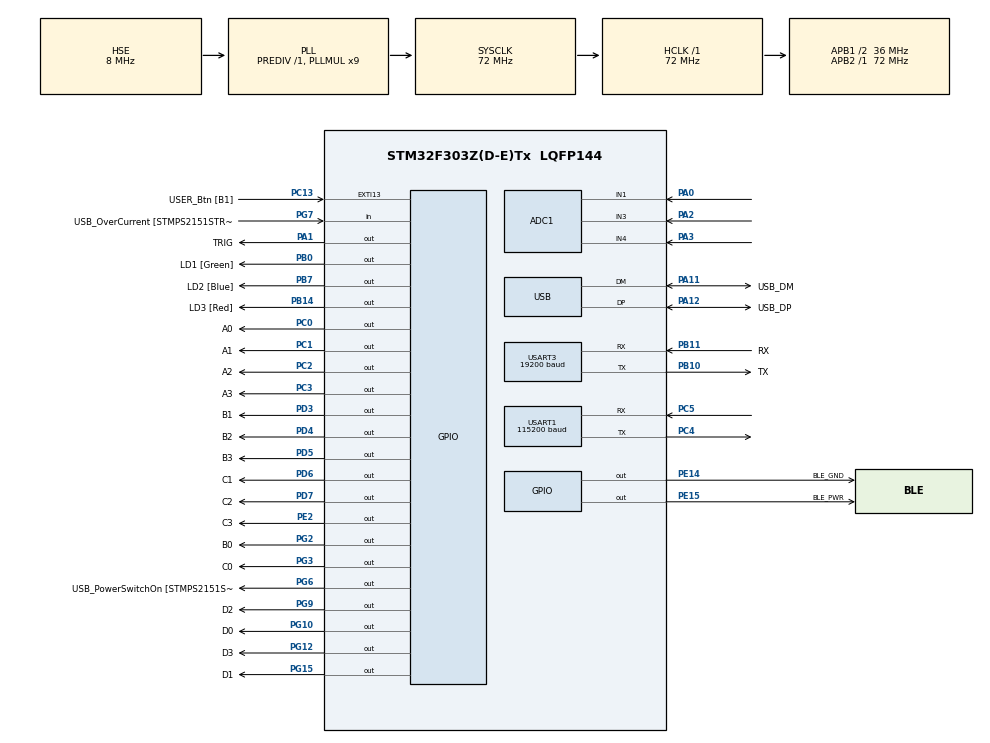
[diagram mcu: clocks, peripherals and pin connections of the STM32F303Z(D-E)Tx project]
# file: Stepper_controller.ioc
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ADC1.Channel-0\#ChannelRegularConversion=ADC_CHANNEL_1
ADC1.Channel-1\#ChannelRegularConversion=ADC_CHANNEL_3
ADC1.Channel-2\#ChannelRegularConversion=ADC_CHANNEL_4
ADC1.DataAlign=ADC_DATAALIGN_LEFT
ADC1.DiscontinuousConvMode=ENABLE
ADC1.InjNumberOfConversion=3
ADC1.InjectedChannel-3\#ChannelInjectedConversion=ADC_CHANNEL_1
ADC1.InjectedChannel-4\#ChannelInjectedConversion=ADC_CHANNEL_3
ADC1.InjectedChannel-5\#ChannelInjectedConversion=ADC_CHANNEL_4
ADC1.InjectedOffset-3\#ChannelInjectedConversion=0
ADC1.InjectedOffset-4\#ChannelInjectedConversion=0
ADC1.InjectedOffset-5\#ChannelInjectedConversion=0
ADC1.InjectedOffsetNumber-3\#ChannelInjectedConversion=ADC_OFFSET_NONE
ADC1.InjectedOffsetNumber-4\#ChannelInjectedConversion=ADC_OFFSET_NONE
ADC1.InjectedOffsetNumber-5\#ChannelInjectedConversion=ADC_OFFSET_NONE
ADC1.InjectedRank-3\#ChannelInjectedConversion=1
ADC1.InjectedRank-4\#ChannelInjectedConversion=2
ADC1.InjectedRank-5\#ChannelInjectedConversion=3
ADC1.InjectedSamplingTime-3\#ChannelInjectedConversion=ADC_SAMPLETIME_1CYCLE_5
ADC1.InjectedSamplingTime-4\#ChannelInjectedConversion=ADC_SAMPLETIME_1CYCLE_5
ADC1.InjectedSamplingTime-5\#ChannelInjectedConversion=ADC_SAMPLETIME_1CYCLE_5
ADC1.NbrOfConversion=3
ADC1.NbrOfConversionFlag=1
ADC1.NbrOfDiscConversion=3
ADC1.Offset-0\#ChannelRegularConversion=0
ADC1.Offset-1\#ChannelRegularConversion=0
ADC1.Offset-2\#ChannelRegularConversion=0
ADC1.OffsetNumber-0\#ChannelRegularConversion=ADC_OFFSET_NONE
ADC1.OffsetNumber-1\#ChannelRegularConversion=ADC_OFFSET_NONE
ADC1.OffsetNumber-2\#ChannelRegularConversion=ADC_OFFSET_NONE
ADC1.Rank-0\#ChannelRegularConversion=1
ADC1.Rank-1\#ChannelRegularConversion=2
ADC1.Rank-2\#ChannelRegularConversion=3
ADC1.SamplingTime-0\#ChannelRegularConversion=ADC_SAMPLETIME_1CYCLE_5
ADC1.SamplingTime-1\#ChannelRegularConversion=ADC_SAMPLETIME_1CYCLE_5
ADC1.SamplingTime-2\#ChannelRegularConversion=ADC_SAMPLETIME_1CYCLE_5
ADC1.master=1
Dma.ADC1.0.Direction=DMA_PERIPH_TO_MEMORY
Dma.ADC1.0.Instance=DMA1_Channel1
Dma.ADC1.0.MemDataAlignment=DMA_MDATAALIGN_HALFWORD
Dma.ADC1.0.MemInc=DMA_MINC_ENABLE
Dma.ADC1.0.Mode=DMA_CIRCULAR
Dma.ADC1.0.PeriphDataAlignment=DMA_PDATAALIGN_HALFWORD
Dma.ADC1.0.PeriphInc=DMA_PINC_DISABLE
Dma.ADC1.0.Priority=DMA_PRIORITY_VERY_HIGH
Dma.Request0=ADC1
Mcu.Family=STM32F3
Mcu.Name=STM32F303Z(D-E)Tx
Mcu.Package=LQFP144
NVIC.DMA1_Channel1_IRQn=true\:0\:0\:false\:false\:true\:true\:true\:true
NVIC.PriorityGroup=NVIC_PRIORITYGROUP_4
NVIC.TIM1_TRG_COM_TIM17_IRQn=true\:3\:0\:true\:false\:true\:true\:false\:true
NVIC.TIM1_UP_TIM16_IRQn=true\:2\:0\:true\:false\:true\:true\:true\:true
NVIC.USART3_IRQn=true\:1\:0\:true\:false\:true\:true\:false\:true
NVIC.USB_LP_CAN_RX0_IRQn=true\:0\:0\:false\:false\:true\:false\:true\:true
PA0.Mode=IN1-Single-Ended
PA0.Signal=ADC1_IN1
PA1.GPIO_Label=TRIG
PA1.Signal=GPIO_Output
PA11.GPIO_Label=USB_DM
PA11.Mode=Device
PA11.Signal=USB_DM
PA12.GPIO_Label=USB_DP
PA12.Mode=Device
PA12.Signal=USB_DP
PA13.GPIO_Label=TMS
PA13.Mode=Serial_Wire
PA13.Signal=SYS_JTMS-SWDIO
PA14.GPIO_Label=TCK
PA14.Mode=Serial_Wire
PA14.Signal=SYS_JTCK-SWCLK
PA2.Mode=IN3-Single-Ended
PA2.Signal=ADC1_IN3
PA3.Mode=IN4-Single-Ended
PA3.Signal=ADC1_IN4
PB0.GPIO_Label=LD1 [Green]
PB0.Signal=GPIO_Output
PB10.GPIO_Label=TX
PB10.Mode=Asynchronous
PB10.Signal=USART3_TX
PB11.GPIO_Label=RX
PB11.Mode=Asynchronous
PB11.Signal=USART3_RX
PB14.GPIO_Label=LD3 [Red]
PB14.Signal=GPIO_Output
PB3.GPIO_Label=SWO
PB3.Signal=SYS_JTDO-TRACESWO
PB7.GPIO_Label=LD2 [Blue]
PB7.Signal=GPIO_Output
PC0.GPIO_Label=A0
PC0.GPIO_ModeDefaultOutputPP=GPIO_MODE_OUTPUT_PP
PC0.GPIO_PuPd=GPIO_NOPULL
PC0.GPIO_Speed=GPIO_SPEED_FREQ_HIGH
PC0.PinState=GPIO_PIN_RESET
PC0.Signal=GPIO_Output
PC1.GPIO_Label=A1
PC1.GPIO_ModeDefaultOutputPP=GPIO_MODE_OUTPUT_PP
PC1.GPIO_PuPd=GPIO_NOPULL
PC1.GPIO_Speed=GPIO_SPEED_FREQ_HIGH
PC1.PinState=GPIO_PIN_RESET
PC1.Signal=GPIO_Output
PC13.GPIO_Label=USER_Btn [B1]
PC13.Signal=GPXTI13
PC14-OSC32_IN.Mode=LSE-External-Oscillator
PC14-OSC32_IN.Signal=RCC_OSC32_IN
PC15-OSC32_OUT.Mode=LSE-External-Oscillator
PC15-OSC32_OUT.Signal=RCC_OSC32_OUT
PC2.GPIO_Label=A2
PC2.GPIO_ModeDefaultOutputPP=GPIO_MODE_OUTPUT_PP
PC2.GPIO_PuPd=GPIO_NOPULL
PC2.GPIO_Speed=GPIO_SPEED_FREQ_HIGH
PC2.PinState=GPIO_PIN_RESET
PC2.Signal=GPIO_Output
PC3.GPIO_Label=A3
PC3.GPIO_ModeDefaultOutputPP=GPIO_MODE_OUTPUT_PP
PC3.GPIO_PuPd=GPIO_NOPULL
PC3.GPIO_Speed=GPIO_SPEED_FREQ_HIGH
PC3.PinState=GPIO_PIN_RESET
PC3.Signal=GPIO_Output
PC4.Mode=Asynchronous
PC4.Signal=USART1_TX
PC5.Mode=Asynchronous
PC5.Signal=USART1_RX
PD3.GPIO_Label=B1
PD3.GPIO_ModeDefaultOutputPP=GPIO_MODE_OUTPUT_PP
PD3.GPIO_PuPd=GPIO_NOPULL
PD3.GPIO_Speed=GPIO_SPEED_FREQ_HIGH
PD3.PinState=GPIO_PIN_RESET
PD3.Signal=GPIO_Output
PD4.GPIO_Label=B2
PD4.GPIO_ModeDefaultOutputPP=GPIO_MODE_OUTPUT_PP
PD4.GPIO_PuPd=GPIO_NOPULL
PD4.GPIO_Speed=GPIO_SPEED_FREQ_HIGH
PD4.PinState=GPIO_PIN_RESET
PD4.Signal=GPIO_Output
PD5.GPIO_Label=B3
PD5.GPIO_ModeDefaultOutputPP=GPIO_MODE_OUTPUT_PP
PD5.GPIO_PuPd=GPIO_NOPULL
PD5.GPIO_Speed=GPIO_SPEED_FREQ_HIGH
PD5.PinState=GPIO_PIN_RESET
PD5.Signal=GPIO_Output
PD6.GPIO_Label=C1
PD6.GPIO_ModeDefaultOutputPP=GPIO_MODE_OUTPUT_PP
PD6.GPIO_PuPd=GPIO_NOPULL
PD6.GPIO_Speed=GPIO_SPEED_FREQ_HIGH
PD6.PinState=GPIO_PIN_RESET
PD6.Signal=GPIO_Output
PD7.GPIO_Label=C2
PD7.GPIO_ModeDefaultOutputPP=GPIO_MODE_OUTPUT_PP
PD7.GPIO_PuPd=GPIO_NOPULL
PD7.GPIO_Speed=GPIO_SPEED_FREQ_HIGH
PD7.PinState=GPIO_PIN_RESET
PD7.Signal=GPIO_Output
PE14.GPIO_Label=BLE_GND
PE14.Signal=GPIO_Output
PE15.GPIO_Label=BLE_PWR
PE15.PinState=GPIO_PIN_SET
PE15.Signal=GPIO_Output
PE2.GPIO_Label=C3
PE2.GPIO_ModeDefaultOutputPP=GPIO_MODE_OUTPUT_PP
PE2.GPIO_PuPd=GPIO_NOPULL
PE2.GPIO_Speed=GPIO_SPEED_FREQ_HIGH
PE2.PinState=GPIO_PIN_RESET
PE2.Signal=GPIO_Output
PF0-OSC_IN.GPIO_Label=MCO [STM32F103CBT6_PA8]
PF0-OSC_IN.Mode=HSE-External-Clock-Source
PF0-OSC_IN.Signal=RCC_OSC_IN
PG10.GPIO_Label=D0
PG10.GPIO_ModeDefaultOutputPP=GPIO_MODE_OUTPUT_PP
PG10.GPIO_PuPd=GPIO_NOPULL
PG10.GPIO_Speed=GPIO_SPEED_FREQ_HIGH
PG10.PinState=GPIO_PIN_RESET
PG10.Signal=GPIO_Output
PG12.GPIO_Label=D3
PG12.GPIO_ModeDefaultOutputPP=GPIO_MODE_OUTPUT_PP
PG12.GPIO_PuPd=GPIO_NOPULL
PG12.GPIO_Speed=GPIO_SPEED_FREQ_HIGH
PG12.PinState=GPIO_PIN_RESET
PG12.Signal=GPIO_Output
PG15.GPIO_Label=D1
PG15.GPIO_ModeDefaultOutputPP=GPIO_MODE_OUTPUT_PP
PG15.GPIO_PuPd=GPIO_NOPULL
PG15.GPIO_Speed=GPIO_SPEED_FREQ_HIGH
PG15.PinState=GPIO_PIN_RESET
PG15.Signal=GPIO_Output
PG2.GPIO_Label=B0
PG2.GPIO_ModeDefaultOutputPP=GPIO_MODE_OUTPUT_PP
PG2.GPIO_PuPd=GPIO_NOPULL
PG2.GPIO_Speed=GPIO_SPEED_FREQ_HIGH
PG2.PinState=GPIO_PIN_RESET
PG2.Signal=GPIO_Output
PG3.GPIO_Label=C0
PG3.GPIO_ModeDefaultOutputPP=GPIO_MODE_OUTPUT_PP
PG3.GPIO_PuPd=GPIO_NOPULL
PG3.GPIO_Speed=GPIO_SPEED_FREQ_HIGH
PG3.PinState=GPIO_PIN_RESET
PG3.Signal=GPIO_Output
PG6.GPIO_Label=USB_PowerSwitchOn [STMPS2151STR_EN]
PG6.Signal=GPIO_Output
PG7.GPIO_Label=USB_OverCurrent [STMPS2151STR_FAULT]
PG7.Signal=GPIO_Input
PG9.GPIO_Label=D2
PG9.GPIO_ModeDefaultOutputPP=GPIO_MODE_OUTPUT_PP
PG9.GPIO_PuPd=GPIO_NOPULL
PG9.GPIO_Speed=GPIO_SPEED_FREQ_HIGH
PG9.PinState=GPIO_PIN_RESET
PG9.Signal=GPIO_Output
ProjectManager.HeapSize=0x2000
ProjectManager.StackSize=0x2000
ProjectManager.TargetToolchain=MDK-ARM V5.27
RCC.AHBFreq_Value=72000000
RCC.APB1CLKDivider=RCC_HCLK_DIV2
RCC.APB1Freq_Value=36000000
RCC.APB1TimFreq_Value=72000000
RCC.APB2Freq_Value=72000000
RCC.APB2TimFreq_Value=72000000
RCC.CortexFreq_Value=72000000
RCC.HCLKFreq_Value=72000000
RCC.HSE_VALUE=8000000
RCC.HSI_VALUE=8000000
RCC.PLLMUL=RCC_PLL_MUL9
RCC.PRESCALERUSB=RCC_USBCLKSOURCE_PLL_DIV1_5
RCC.SYSCLKFreq_VALUE=72000000
RCC.SYSCLKSourceVirtual=RCC_SYSCLKSOURCE_PLLCLK
RCC.USBFreq_Value=48000000
TIM16.AutoReloadPreload=TIM_AUTORELOAD_PRELOAD_ENABLE
TIM16.Period=999
TIM16.Prescaler=71
TIM17.AutoReloadPreload=TIM_AUTORELOAD_PRELOAD_ENABLE
TIM17.Period=10
TIM17.Prescaler=7199
USART1.BaudRate=115200
USART1.VirtualMode-Asynchronous=VM_ASYNC
USART3.BaudRate=19200
USART3.DMADisableonRxErrorParam=ADVFEATURE_DMA_DISABLEONRXERROR
USART3.OverrunDisableParam=ADVFEATURE_OVERRUN_DISABLE
USART3.SwapParam=ADVFEATURE_SWAP_ENABLE
USART3.VirtualMode-Asynchronous=VM_ASYNC
USB_DEVICE.CLASS_NAME_FS=CDC
USB_DEVICE.VirtualMode=Cdc
USB_DEVICE.VirtualModeFS=Cdc_FS
VP_RTC_VS_RTC_Activate.Mode=RTC_Enabled
VP_TIM16_VS_ClockSourceINT.Mode=Enable_Timer
VP_TIM17_VS_ClockSourceINT.Mode=Enable_Timer
VP_USB_DEVICE_VS_USB_DEVICE_CDC_FS.Mode=CDC_FS
board=NUCLEO-F303ZE

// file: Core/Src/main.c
/* USER CODE BEGIN Header */
/**
 ******************************************************************************
 * @file           : main.c
 * @brief          : Main program body
 ******************************************************************************
 * @attention
 *
 * <h2><center>&copy; Copyright (c) 2020 STMicroelectronics.
 * All rights reserved.</center></h2>
 *
 * This software component is licensed by ST under BSD 3-Clause license,
 * the "License"; You may not use this file except in compliance with the
 * License. You may obtain a copy of the License at:
 *                        opensource.org/licenses/BSD-3-Clause
 *
 ******************************************************************************
 */
/* USER CODE END Header */

#include "main.h"
#include "usb_device.h"

/* USER CODE BEGIN Includes */
#include "CE32_stepper_motor_driver.h"
#include "FTL_Sampling.h"
#include "CE32_COMMAND.h"
#include "CE32_UART_INTERCOM.h"
#include "string.h"
#include "usbd_cdc_if.h"
/* USER CODE END Includes */

ADC_HandleTypeDef hadc1;
DMA_HandleTypeDef hdma_adc1;

RTC_HandleTypeDef hrtc;

TIM_HandleTypeDef htim16;
TIM_HandleTypeDef htim17;

UART_HandleTypeDef huart1;
UART_HandleTypeDef huart3;

/* USER CODE BEGIN PV */
CE32_stepMotor motor[4];
FTL_sampling sampler;
CE32_INTERCOM_Handle hCOMM;
int16_t motor_location[6];
int measure_state=0;
/* USER CODE END PV */

void SystemClock_Config(void);
static void MX_GPIO_Init(void);
static void MX_DMA_Init(void);
static void MX_RTC_Init(void);
static void MX_USART3_UART_Init(void);
static void MX_ADC1_Init(void);
static void MX_USART1_UART_Init(void);
static void MX_TIM16_Init(void);
static void MX_TIM17_Init(void);
/* USER CODE BEGIN PFP */

void Motor_init(void);
int Vector_Control(int16_t *locs,int len);
int Measure_SendRst(void);
int MatrixScan(int16_t step,int16_t Xbase,int16_t Ybase,int16_t Zbase, int16_t Xspan,int16_t Yspan,int16_t Zspan);
int DepthScan(int16_t step,int16_t Xbase,int16_t Ybase,int16_t Zbase, int16_t Xspan,int16_t Yspan,int16_t Zspan);
void cmd_svr(void);
/* USER CODE END PFP */

int main(void)
{

  /* MCU Configuration--------------------------------------------------------*/

  /* Reset of all peripherals, Initializes the Flash interface and the Systick. */
  HAL_Init();

  /* Configure the system clock */
  SystemClock_Config();

  /* Initialize all configured peripherals */
  MX_GPIO_Init();
  MX_DMA_Init();
  MX_RTC_Init();
  MX_USART3_UART_Init();
  MX_ADC1_Init();
  MX_USART1_UART_Init();
  MX_TIM16_Init();
  MX_TIM17_Init();
  MX_USB_DEVICE_Init();
  /* USER CODE BEGIN 2 */
	HAL_GPIO_WritePin(USB_PowerSwitchOn_GPIO_Port,USB_PowerSwitchOn_Pin,1);
	Motor_init();
	HAL_ADCEx_Calibration_Start(&hadc1,ADC_SINGLE_ENDED);
	CE32_INTERCOM_Init(&hCOMM, &huart3);
	INTERCOM_UART_ENABLE(&hCOMM);
	INTERCOM_UART_RXIT_ENABLE(&hCOMM);

  /* USER CODE END 2 */

  /* Infinite loop */
	while (1)
	{

    /* USER CODE BEGIN 3 */
		//Command Processing services
		cmd_svr();
	}
	//	Stepping_down_Distance(&motor[0], 50);
	//	Stepping_down_Distance(&motor[1], 50);
	//	Stepping_down_Distance(&motor[2], 50);
	//
	//	FTL_Sampling_Init(&sampler,1);
	//	HAL_TIM_Base_Start_IT(&htim16);
	//	HAL_GPIO_WritePin(TRIG_GPIO_Port, TRIG_Pin, GPIO_PIN_SET);
	//	while((sampler.state&FTL_SAMPLE_STATE_FINISH)==0);
	//	Stepping_up_Distance(&motor[0], 50);
	//	Stepping_up_Distance(&motor[1], 50);
	//	Stepping_up_Distance(&motor[2], 50);
  /* USER CODE END 3 */
}

void SystemClock_Config(void)
{
  RCC_OscInitTypeDef RCC_OscInitStruct = {0};
  RCC_ClkInitTypeDef RCC_ClkInitStruct = {0};
  RCC_PeriphCLKInitTypeDef PeriphClkInit = {0};

  /** Initializes the CPU, AHB and APB busses clocks
  */
  RCC_OscInitStruct.OscillatorType = RCC_OSCILLATORTYPE_LSI|RCC_OSCILLATORTYPE_HSE;
  RCC_OscInitStruct.HSEState = RCC_HSE_BYPASS;
  RCC_OscInitStruct.HSIState = RCC_HSI_ON;
  RCC_OscInitStruct.LSIState = RCC_LSI_ON;
  RCC_OscInitStruct.PLL.PLLState = RCC_PLL_ON;
  RCC_OscInitStruct.PLL.PLLSource = RCC_PLLSOURCE_HSE;
  RCC_OscInitStruct.PLL.PLLMUL = RCC_PLL_MUL9;
  RCC_OscInitStruct.PLL.PREDIV = RCC_PREDIV_DIV1;
  if (HAL_RCC_OscConfig(&RCC_OscInitStruct) != HAL_OK)
  {
    Error_Handler();
  }
  /** Initializes the CPU, AHB and APB busses clocks
  */
  RCC_ClkInitStruct.ClockType = RCC_CLOCKTYPE_HCLK|RCC_CLOCKTYPE_SYSCLK
                              |RCC_CLOCKTYPE_PCLK1|RCC_CLOCKTYPE_PCLK2;
  RCC_ClkInitStruct.SYSCLKSource = RCC_SYSCLKSOURCE_PLLCLK;
  RCC_ClkInitStruct.AHBCLKDivider = RCC_SYSCLK_DIV1;
  RCC_ClkInitStruct.APB1CLKDivider = RCC_HCLK_DIV2;
  RCC_ClkInitStruct.APB2CLKDivider = RCC_HCLK_DIV1;

  if (HAL_RCC_ClockConfig(&RCC_ClkInitStruct, FLASH_LATENCY_2) != HAL_OK)
  {
    Error_Handler();
  }
  PeriphClkInit.PeriphClockSelection = RCC_PERIPHCLK_USB|RCC_PERIPHCLK_USART1
                              |RCC_PERIPHCLK_USART3|RCC_PERIPHCLK_RTC
                              |RCC_PERIPHCLK_TIM16|RCC_PERIPHCLK_TIM17
                              |RCC_PERIPHCLK_ADC12;
  PeriphClkInit.Usart1ClockSelection = RCC_USART1CLKSOURCE_PCLK2;
  PeriphClkInit.Usart3ClockSelection = RCC_USART3CLKSOURCE_PCLK1;
  PeriphClkInit.Adc12ClockSelection = RCC_ADC12PLLCLK_DIV1;
  PeriphClkInit.RTCClockSelection = RCC_RTCCLKSOURCE_LSI;
  PeriphClkInit.USBClockSelection = RCC_USBCLKSOURCE_PLL_DIV1_5;
  PeriphClkInit.Tim16ClockSelection = RCC_TIM16CLK_HCLK;
  PeriphClkInit.Tim17ClockSelection = RCC_TIM17CLK_HCLK;
  if (HAL_RCCEx_PeriphCLKConfig(&PeriphClkInit) != HAL_OK)
  {
    Error_Handler();
  }
}

static void MX_ADC1_Init(void)
{

  ADC_MultiModeTypeDef multimode = {0};
  ADC_ChannelConfTypeDef sConfig = {0};
  ADC_InjectionConfTypeDef sConfigInjected = {0};

  /** Common config
  */
  hadc1.Instance = ADC1;
  hadc1.Init.ClockPrescaler = ADC_CLOCK_ASYNC_DIV1;
  hadc1.Init.Resolution = ADC_RESOLUTION_12B;
  hadc1.Init.ScanConvMode = ADC_SCAN_ENABLE;
  hadc1.Init.ContinuousConvMode = DISABLE;
  hadc1.Init.DiscontinuousConvMode = ENABLE;
  hadc1.Init.NbrOfDiscConversion = 3;
  hadc1.Init.ExternalTrigConvEdge = ADC_EXTERNALTRIGCONVEDGE_NONE;
  hadc1.Init.ExternalTrigConv = ADC_SOFTWARE_START;
  hadc1.Init.DataAlign = ADC_DATAALIGN_LEFT;
  hadc1.Init.NbrOfConversion = 3;
  hadc1.Init.DMAContinuousRequests = DISABLE;
  hadc1.Init.EOCSelection = ADC_EOC_SINGLE_CONV;
  hadc1.Init.LowPowerAutoWait = DISABLE;
  hadc1.Init.Overrun = ADC_OVR_DATA_OVERWRITTEN;
  if (HAL_ADC_Init(&hadc1) != HAL_OK)
  {
    Error_Handler();
  }
  /** Configure the ADC multi-mode
  */
  multimode.Mode = ADC_MODE_INDEPENDENT;
  if (HAL_ADCEx_MultiModeConfigChannel(&hadc1, &multimode) != HAL_OK)
  {
    Error_Handler();
  }
  /** Configure Regular Channel
  */
  sConfig.Channel = ADC_CHANNEL_1;
  sConfig.Rank = ADC_REGULAR_RANK_1;
  sConfig.SingleDiff = ADC_SINGLE_ENDED;
  sConfig.SamplingTime = ADC_SAMPLETIME_1CYCLE_5;
  sConfig.OffsetNumber = ADC_OFFSET_NONE;
  sConfig.Offset = 0;
  if (HAL_ADC_ConfigChannel(&hadc1, &sConfig) != HAL_OK)
  {
    Error_Handler();
  }
  /** Configure Regular Channel
  */
  sConfig.Channel = ADC_CHANNEL_3;
  sConfig.Rank = ADC_REGULAR_RANK_2;
  if (HAL_ADC_ConfigChannel(&hadc1, &sConfig) != HAL_OK)
  {
    Error_Handler();
  }
  /** Configure Regular Channel
  */
  sConfig.Channel = ADC_CHANNEL_4;
  sConfig.Rank = ADC_REGULAR_RANK_3;
  if (HAL_ADC_ConfigChannel(&hadc1, &sConfig) != HAL_OK)
  {
    Error_Handler();
  }
  /** Configure Injected Channel
  */
  sConfigInjected.InjectedChannel = ADC_CHANNEL_1;
  sConfigInjected.InjectedRank = ADC_INJECTED_RANK_1;
  sConfigInjected.InjectedSingleDiff = ADC_SINGLE_ENDED;
  sConfigInjected.InjectedNbrOfConversion = 3;
  sConfigInjected.InjectedSamplingTime = ADC_SAMPLETIME_1CYCLE_5;
  sConfigInjected.ExternalTrigInjecConvEdge = ADC_EXTERNALTRIGINJECCONV_EDGE_NONE;
  sConfigInjected.ExternalTrigInjecConv = ADC_INJECTED_SOFTWARE_START;
  sConfigInjected.AutoInjectedConv = DISABLE;
  sConfigInjected.InjectedDiscontinuousConvMode = DISABLE;
  sConfigInjected.QueueInjectedContext = DISABLE;
  sConfigInjected.InjectedOffset = 0;
  sConfigInjected.InjectedOffsetNumber = ADC_OFFSET_NONE;
  if (HAL_ADCEx_InjectedConfigChannel(&hadc1, &sConfigInjected) != HAL_OK)
  {
    Error_Handler();
  }
  /** Configure Injected Channel
  */
  sConfigInjected.InjectedChannel = ADC_CHANNEL_3;
  sConfigInjected.InjectedRank = ADC_INJECTED_RANK_2;
  if (HAL_ADCEx_InjectedConfigChannel(&hadc1, &sConfigInjected) != HAL_OK)
  {
    Error_Handler();
  }
  /** Configure Injected Channel
  */
  sConfigInjected.InjectedChannel = ADC_CHANNEL_4;
  sConfigInjected.InjectedRank = ADC_INJECTED_RANK_3;
  if (HAL_ADCEx_InjectedConfigChannel(&hadc1, &sConfigInjected) != HAL_OK)
  {
    Error_Handler();
  }

}

static void MX_RTC_Init(void)
{

  /** Initialize RTC Only
  */
  hrtc.Instance = RTC;
  hrtc.Init.HourFormat = RTC_HOURFORMAT_24;
  hrtc.Init.AsynchPrediv = 127;
  hrtc.Init.SynchPrediv = 255;
  hrtc.Init.OutPut = RTC_OUTPUT_DISABLE;
  hrtc.Init.OutPutPolarity = RTC_OUTPUT_POLARITY_HIGH;
  hrtc.Init.OutPutType = RTC_OUTPUT_TYPE_OPENDRAIN;
  if (HAL_RTC_Init(&hrtc) != HAL_OK)
  {
    Error_Handler();
  }

}

static void MX_TIM16_Init(void)
{

  htim16.Instance = TIM16;
  htim16.Init.Prescaler = 71;
  htim16.Init.CounterMode = TIM_COUNTERMODE_UP;
  htim16.Init.Period = 999;
  htim16.Init.ClockDivision = TIM_CLOCKDIVISION_DIV1;
  htim16.Init.RepetitionCounter = 0;
  htim16.Init.AutoReloadPreload = TIM_AUTORELOAD_PRELOAD_ENABLE;
  if (HAL_TIM_Base_Init(&htim16) != HAL_OK)
  {
    Error_Handler();
  }

}

static void MX_TIM17_Init(void)
{

  htim17.Instance = TIM17;
  htim17.Init.Prescaler = 7199;
  htim17.Init.CounterMode = TIM_COUNTERMODE_UP;
  htim17.Init.Period = 10;
  htim17.Init.ClockDivision = TIM_CLOCKDIVISION_DIV1;
  htim17.Init.RepetitionCounter = 0;
  htim17.Init.AutoReloadPreload = TIM_AUTORELOAD_PRELOAD_ENABLE;
  if (HAL_TIM_Base_Init(&htim17) != HAL_OK)
  {
    Error_Handler();
  }

}

static void MX_USART1_UART_Init(void)
{

  huart1.Instance = USART1;
  huart1.Init.BaudRate = 115200;
  huart1.Init.WordLength = UART_WORDLENGTH_8B;
  huart1.Init.StopBits = UART_STOPBITS_1;
  huart1.Init.Parity = UART_PARITY_NONE;
  huart1.Init.Mode = UART_MODE_TX_RX;
  huart1.Init.HwFlowCtl = UART_HWCONTROL_NONE;
  huart1.Init.OverSampling = UART_OVERSAMPLING_16;
  huart1.Init.OneBitSampling = UART_ONE_BIT_SAMPLE_DISABLE;
  huart1.AdvancedInit.AdvFeatureInit = UART_ADVFEATURE_NO_INIT;
  if (HAL_UART_Init(&huart1) != HAL_OK)
  {
    Error_Handler();
  }

}

static void MX_USART3_UART_Init(void)
{

  huart3.Instance = USART3;
  huart3.Init.BaudRate = 19200;
  huart3.Init.WordLength = UART_WORDLENGTH_8B;
  huart3.Init.StopBits = UART_STOPBITS_1;
  huart3.Init.Parity = UART_PARITY_NONE;
  huart3.Init.Mode = UART_MODE_TX_RX;
  huart3.Init.HwFlowCtl = UART_HWCONTROL_NONE;
  huart3.Init.OverSampling = UART_OVERSAMPLING_16;
  huart3.Init.OneBitSampling = UART_ONE_BIT_SAMPLE_DISABLE;
  huart3.AdvancedInit.AdvFeatureInit = UART_ADVFEATURE_SWAP_INIT|UART_ADVFEATURE_RXOVERRUNDISABLE_INIT
                              |UART_ADVFEATURE_DMADISABLEONERROR_INIT;
  huart3.AdvancedInit.Swap = UART_ADVFEATURE_SWAP_ENABLE;
  huart3.AdvancedInit.OverrunDisable = UART_ADVFEATURE_OVERRUN_DISABLE;
  huart3.AdvancedInit.DMADisableonRxError = UART_ADVFEATURE_DMA_DISABLEONRXERROR;
  if (HAL_UART_Init(&huart3) != HAL_OK)
  {
    Error_Handler();
  }

}

static void MX_DMA_Init(void)
{

  /* DMA controller clock enable */
  __HAL_RCC_DMA1_CLK_ENABLE();

  /* DMA interrupt init */
  /* DMA1_Channel1_IRQn interrupt configuration */
  HAL_NVIC_SetPriority(DMA1_Channel1_IRQn, 0, 0);
  HAL_NVIC_EnableIRQ(DMA1_Channel1_IRQn);

}

static void MX_GPIO_Init(void)
{
  GPIO_InitTypeDef GPIO_InitStruct = {0};

  /* GPIO Ports Clock Enable */
  __HAL_RCC_GPIOE_CLK_ENABLE();
  __HAL_RCC_GPIOC_CLK_ENABLE();
  __HAL_RCC_GPIOF_CLK_ENABLE();
  __HAL_RCC_GPIOA_CLK_ENABLE();
  __HAL_RCC_GPIOB_CLK_ENABLE();
  __HAL_RCC_GPIOG_CLK_ENABLE();
  __HAL_RCC_GPIOD_CLK_ENABLE();

  /*Configure GPIO pin Output Level */
  HAL_GPIO_WritePin(GPIOE, C3_Pin|BLE_GND_Pin, GPIO_PIN_RESET);

  /*Configure GPIO pin Output Level */
  HAL_GPIO_WritePin(GPIOC, A0_Pin|A1_Pin|A2_Pin|A3_Pin, GPIO_PIN_RESET);

  /*Configure GPIO pin Output Level */
  HAL_GPIO_WritePin(TRIG_GPIO_Port, TRIG_Pin, GPIO_PIN_RESET);

  /*Configure GPIO pin Output Level */
  HAL_GPIO_WritePin(GPIOB, LD1_Pin|LD3_Pin|LD2_Pin, GPIO_PIN_RESET);

  /*Configure GPIO pin Output Level */
  HAL_GPIO_WritePin(BLE_PWR_GPIO_Port, BLE_PWR_Pin, GPIO_PIN_SET);

  /*Configure GPIO pin Output Level */
  HAL_GPIO_WritePin(GPIOG, B0_Pin|C0_Pin|USB_PowerSwitchOn_Pin|D2_Pin
                          |D0_Pin|D3_Pin|D1_Pin, GPIO_PIN_RESET);

  /*Configure GPIO pin Output Level */
  HAL_GPIO_WritePin(GPIOD, B1_Pin|B2_Pin|B3_Pin|C1_Pin
                          |C2_Pin, GPIO_PIN_RESET);

  /*Configure GPIO pin : C3_Pin */
  GPIO_InitStruct.Pin = C3_Pin;
  GPIO_InitStruct.Mode = GPIO_MODE_OUTPUT_PP;
  GPIO_InitStruct.Pull = GPIO_NOPULL;
  GPIO_InitStruct.Speed = GPIO_SPEED_FREQ_HIGH;
  HAL_GPIO_Init(C3_GPIO_Port, &GPIO_InitStruct);

  /*Configure GPIO pin : USER_Btn_Pin */
  GPIO_InitStruct.Pin = USER_Btn_Pin;
  GPIO_InitStruct.Mode = GPIO_MODE_IT_RISING;
  GPIO_InitStruct.Pull = GPIO_NOPULL;
  HAL_GPIO_Init(USER_Btn_GPIO_Port, &GPIO_InitStruct);

  /*Configure GPIO pins : A0_Pin A1_Pin A2_Pin A3_Pin */
  GPIO_InitStruct.Pin = A0_Pin|A1_Pin|A2_Pin|A3_Pin;
  GPIO_InitStruct.Mode = GPIO_MODE_OUTPUT_PP;
  GPIO_InitStruct.Pull = GPIO_NOPULL;
  GPIO_InitStruct.Speed = GPIO_SPEED_FREQ_HIGH;
  HAL_GPIO_Init(GPIOC, &GPIO_InitStruct);

  /*Configure GPIO pin : TRIG_Pin */
  GPIO_InitStruct.Pin = TRIG_Pin;
  GPIO_InitStruct.Mode = GPIO_MODE_OUTPUT_PP;
  GPIO_InitStruct.Pull = GPIO_NOPULL;
  GPIO_InitStruct.Speed = GPIO_SPEED_FREQ_LOW;
  HAL_GPIO_Init(TRIG_GPIO_Port, &GPIO_InitStruct);

  /*Configure GPIO pins : LD1_Pin LD3_Pin LD2_Pin */
  GPIO_InitStruct.Pin = LD1_Pin|LD3_Pin|LD2_Pin;
  GPIO_InitStruct.Mode = GPIO_MODE_OUTPUT_PP;
  GPIO_InitStruct.Pull = GPIO_NOPULL;
  GPIO_InitStruct.Speed = GPIO_SPEED_FREQ_LOW;
  HAL_GPIO_Init(GPIOB, &GPIO_InitStruct);

  /*Configure GPIO pins : BLE_GND_Pin BLE_PWR_Pin */
  GPIO_InitStruct.Pin = BLE_GND_Pin|BLE_PWR_Pin;
  GPIO_InitStruct.Mode = GPIO_MODE_OUTPUT_PP;
  GPIO_InitStruct.Pull = GPIO_NOPULL;
  GPIO_InitStruct.Speed = GPIO_SPEED_FREQ_LOW;
  HAL_GPIO_Init(GPIOE, &GPIO_InitStruct);

  /*Configure GPIO pins : B0_Pin C0_Pin D2_Pin D0_Pin
                           D3_Pin D1_Pin */
  GPIO_InitStruct.Pin = B0_Pin|C0_Pin|D2_Pin|D0_Pin
                          |D3_Pin|D1_Pin;
  GPIO_InitStruct.Mode = GPIO_MODE_OUTPUT_PP;
  GPIO_InitStruct.Pull = GPIO_NOPULL;
  GPIO_InitStruct.Speed = GPIO_SPEED_FREQ_HIGH;
  HAL_GPIO_Init(GPIOG, &GPIO_InitStruct);

  /*Configure GPIO pin : USB_PowerSwitchOn_Pin */
  GPIO_InitStruct.Pin = USB_PowerSwitchOn_Pin;
  GPIO_InitStruct.Mode = GPIO_MODE_OUTPUT_PP;
  GPIO_InitStruct.Pull = GPIO_NOPULL;
  GPIO_InitStruct.Speed = GPIO_SPEED_FREQ_LOW;
  HAL_GPIO_Init(USB_PowerSwitchOn_GPIO_Port, &GPIO_InitStruct);

  /*Configure GPIO pin : USB_OverCurrent_Pin */
  GPIO_InitStruct.Pin = USB_OverCurrent_Pin;
  GPIO_InitStruct.Mode = GPIO_MODE_INPUT;
  GPIO_InitStruct.Pull = GPIO_NOPULL;
  HAL_GPIO_Init(USB_OverCurrent_GPIO_Port, &GPIO_InitStruct);

  /*Configure GPIO pins : B1_Pin B2_Pin B3_Pin C1_Pin
                           C2_Pin */
  GPIO_InitStruct.Pin = B1_Pin|B2_Pin|B3_Pin|C1_Pin
                          |C2_Pin;
  GPIO_InitStruct.Mode = GPIO_MODE_OUTPUT_PP;
  GPIO_InitStruct.Pull = GPIO_NOPULL;
  GPIO_InitStruct.Speed = GPIO_SPEED_FREQ_HIGH;
  HAL_GPIO_Init(GPIOD, &GPIO_InitStruct);

}

/* USER CODE BEGIN 4 */
void Motor_init(void)
{
	int OnPeriod=10;
	int PostPeriod=1;
	float step_angle=5.625/64;
	float distPerDeg=500.0/360;
	CE32_stepMotor_InitStruct init;
	init.Port_0=A0_GPIO_Port;
	init.Pin_0=A0_Pin;
	init.Port_1=A1_GPIO_Port;
	init.Pin_1=A1_Pin;
	init.Port_2=A2_GPIO_Port;
	init.Pin_2=A2_Pin;
	init.Port_3=A3_GPIO_Port;
	init.Pin_3=A3_Pin;
	init.Init_Pos=0;
	init.Int_Period=PostPeriod;
	init.On_Period=OnPeriod;
	init.step_angle=step_angle;
	init.distPerDegree=distPerDeg;
	CE32_stepMotor_Init(&motor[2],&init);

	init.Port_0=B0_GPIO_Port;
	init.Pin_0=B0_Pin;
	init.Port_1=B1_GPIO_Port;
	init.Pin_1=B1_Pin;
	init.Port_2=B2_GPIO_Port;
	init.Pin_2=B2_Pin;
	init.Port_3=B3_GPIO_Port;
	init.Pin_3=B3_Pin;
	init.Init_Pos=0;
	CE32_stepMotor_Init(&motor[1],&init);

	init.Port_0=C0_GPIO_Port;
	init.Pin_0=C0_Pin;
	init.Port_1=C1_GPIO_Port;
	init.Pin_1=C1_Pin;
	init.Port_2=C2_GPIO_Port;
	init.Pin_2=C2_Pin;
	init.Port_3=C3_GPIO_Port;
	init.Pin_3=C3_Pin;
	CE32_stepMotor_Init(&motor[0],&init);

	init.Port_0=D0_GPIO_Port;
	init.Pin_0=D0_Pin;
	init.Port_1=D1_GPIO_Port;
	init.Pin_1=D1_Pin;
	init.Port_2=D2_GPIO_Port;
	init.Pin_2=D2_Pin;
	init.Port_3=D3_GPIO_Port;
	init.Pin_3=D3_Pin;
	CE32_stepMotor_Init(&motor[3],&init);
}

int Vector_Control(int16_t *locs,int len)
{
	cmd_svr();
	if(len>4)
		len=4;
	for(int i=0;i<len;i++)
	{
		Stepping_To_Distance(&motor[i], locs[i]);
	}
	HAL_TIM_Base_Start_IT(&htim17); //Start motor ticking timer
	while(Stepping_CheckState(&motor[0])|Stepping_CheckState(&motor[1])|Stepping_CheckState(&motor[2])|Stepping_CheckState(&motor[3])!=0);//Wait all motor move to target location
	HAL_TIM_Base_Stop_IT(&htim17);
	memcpy(motor_location,locs,12);
	return 0;
}

int Measure_SendRst(void)
{
	FTL_Sampling_Init(&sampler,3);
	HAL_TIM_Base_Start_IT(&htim16);
	HAL_GPIO_WritePin(TRIG_GPIO_Port, TRIG_Pin, GPIO_PIN_SET);
	while(sampler.state!=0x02);
	uint8_t TX_cmd[2*SAMPLE_POINT+12+2];
	TX_cmd [0]=0x3C;
	memcpy(&TX_cmd[1],motor_location,12);
	memcpy(&TX_cmd[1+12],sampler.buf,2*SAMPLE_POINT);
	TX_cmd[2*SAMPLE_POINT+12+1]=0x3E;
	CE32_INTERCOM_TX_EnqueueCmd(&hCOMM, TX_cmd, 2*SAMPLE_POINT+12+2);
	return 0;
}

int MatrixScan(int16_t step,int16_t Xbase,int16_t Ybase,int16_t Zbase, int16_t Xspan,int16_t Yspan,int16_t Zspan)
{
	int16_t Initloc[4];
	int16_t Originloc[4];

	memcpy(Originloc,motor_location,4*2);
	Initloc[0]=Originloc[0]+Xbase;
	Initloc[1]=Originloc[1]+Ybase;
	Initloc[2]=Originloc[2]+Zbase;

	int ord[3]={2,0,1};
	int Nstep[3];
	Nstep[0]=Xspan/step;
	Nstep[1]=Yspan/step;
	Nstep[2]=Zspan/step;

	for(int x=0;x<=Nstep[ord[0]];x++)
	{
		motor_location[ord[0]]=Initloc[ord[0]]+x*step;;
		for(int y=0;y<=Nstep[ord[1]];y++)
		{
			motor_location[ord[1]]=Initloc[ord[1]]+y*step;
			for(int z=0;z<=Nstep[ord[2]];z++)
			{
				motor_location[ord[2]]=Initloc[ord[2]]+z*step;
				Vector_Control(motor_location,3);
				Measure_SendRst();
				if(measure_state==0)
					return -1;
			}

			if(++y<=Nstep[ord[1]])
			{
				motor_location[ord[1]]=Initloc[ord[1]]+y*step;
				for(int z=Nstep[ord[2]];z>=0;z--)
				{
					motor_location[ord[2]]=Initloc[ord[2]]+z*step;
					Vector_Control(motor_location,3);
					Measure_SendRst();
					if(measure_state==0)
						return -1;
				}
			}
		}
		if(++x<=Nstep[ord[0]])
		{
			motor_location[ord[0]]=Initloc[ord[0]]+x*step;;
			for(int y=Nstep[ord[1]];y>=0;y--)
			{
				motor_location[ord[1]]=Initloc[ord[1]]+y*step;
				for(int z=0;z<=Nstep[ord[2]];z++)
				{
					motor_location[ord[2]]=Initloc[ord[2]]+z*step;
					Vector_Control(motor_location,3);
					Measure_SendRst();
					if(measure_state==0)
							return -1;
				}

				if(--y>=0)
				{
					motor_location[ord[1]]=Initloc[ord[1]]+y*step;
					for(int z=Nstep[ord[2]];z>=0;z--)
					{
						motor_location[ord[2]]=Initloc[ord[2]]+z*step;
						Vector_Control(motor_location,3);
						Measure_SendRst();
						if(measure_state==0)
							return -1;
					}
				}
			}
		}
	}
	Vector_Control(Originloc,3); //Return to initial location
	return 0;
}

int DepthScan(int16_t step,int16_t Xbase,int16_t Ybase,int16_t Zbase, int16_t Xspan,int16_t Yspan,int16_t Zspan)
{
	int16_t Initloc[4];
	int16_t Originloc[4];

	memcpy(Originloc,motor_location,4*2);
	Initloc[0]=Originloc[0]+Xbase;
	Initloc[1]=Originloc[1]+Ybase;
	Initloc[2]=Originloc[2]+Zbase;

	int ord[3]={0,1,2};
	int Nstep[3];
	Nstep[0]=Xspan/step;
	Nstep[1]=Yspan/step;
	Nstep[2]=Zspan/step;

	for(int y=0;y<=Nstep[ord[1]];y++)
	{
		motor_location[ord[0]]=Initloc[ord[0]]-y*step;;
		motor_location[ord[1]]=Initloc[ord[1]]-y*step;
		for(int z=0;z<=Nstep[ord[2]];z++)
		{
			motor_location[ord[2]]=Initloc[ord[2]]+z*step;
			Vector_Control(motor_location,3);
			Measure_SendRst();
			if(measure_state==0)
				return -1;
		}

		if(++y<=Nstep[ord[1]])
		{
			motor_location[ord[0]]=Initloc[ord[0]]-y*step;;
			motor_location[ord[1]]=Initloc[ord[1]]-y*step;
			for(int z=Nstep[ord[2]];z>=0;z--)
			{
				motor_location[ord[2]]=Initloc[ord[2]]+z*step;
				Vector_Control(motor_location,3);
				Measure_SendRst();
				if(measure_state==0)
					return -1;
			}
		}
	}
	Vector_Control(Originloc,3); //Return to initial location
	return 0;
}

void cmd_svr(void)
{
	uint8_t *data_ptr;
	uint32_t cmd_len;
	if(CE32_INTERCOM_RX_DequeueCmd(&hCOMM,&data_ptr,&cmd_len)==0)
	{
		switch(data_ptr[0])
		{
			case 0xA0://set speed
			{
				htim17.Instance->ARR = *((uint16_t*)&data_ptr[1]);
				uint8_t buf[1+1*2];
				buf[0]=0xA0;
				memcpy(&buf[1],&data_ptr[1],1*2);
				CDC_Transmit_FS(buf,sizeof(buf));
				break;
			}
			case 0xD0:
			{
				Vector_Control((int16_t*)&data_ptr[1],4);
				uint8_t buf[1+4*2];
				buf[0]=0xD0;
				memcpy(&buf[1],&data_ptr[1],4*2);
				CDC_Transmit_FS(buf,sizeof(buf));
				break;
			}
			case 0xD1:
			{
				Vector_Control((int16_t*)&data_ptr[1],4);
				Measure_SendRst();
				break;
			}
			case 0xD2:
			{
				int16_t *data=(int16_t*)&data_ptr[1];
				measure_state=1; //Setup measurement flag
				MatrixScan(data[0],data[1],data[2],data[3],data[4],data[5],data[6]);
				break;
			}
			case 0xD3:
			{
				measure_state=0;//Send stop measurement flag
				break;
			}
			case 0xD4:
			{
				int16_t *data=(int16_t*)&data_ptr[1];
				measure_state=1; //Setup measurement flag
				DepthScan(data[0],data[1],data[2],data[3],data[4],data[5],data[6]);
				break;
			}
		}
	}
}
/* USER CODE END 4 */

void Error_Handler(void)
{
}

/************************ (C) COPYRIGHT STMicroelectronics *****END OF FILE****/
